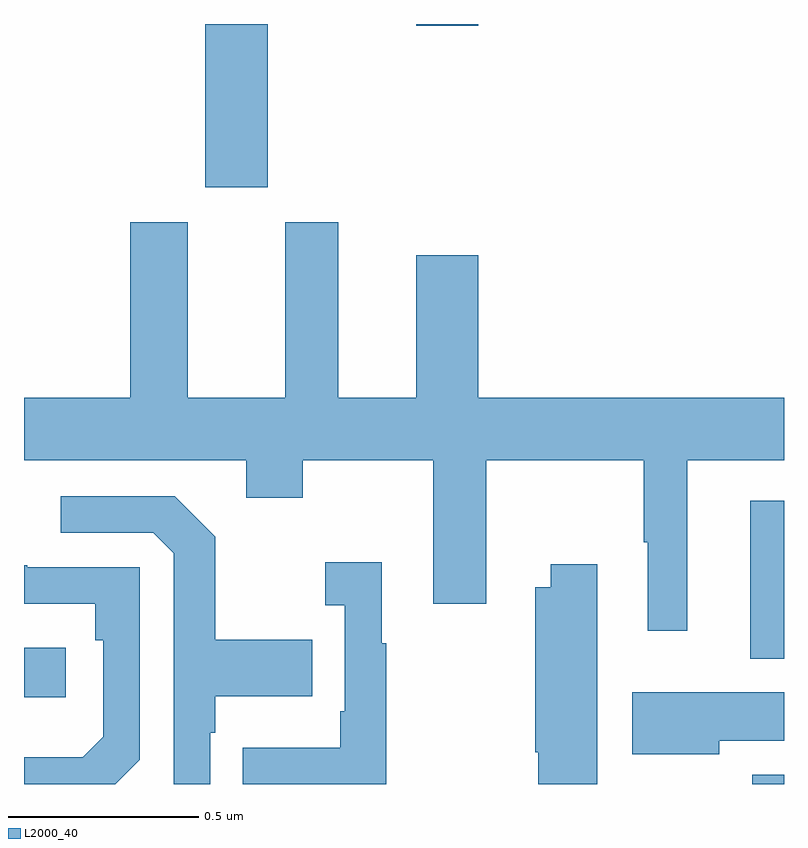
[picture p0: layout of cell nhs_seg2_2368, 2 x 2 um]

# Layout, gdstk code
import gdstk
lib = gdstk.Library(unit=1e-6, precision=1e-09)
def R(c, l, rs):  # rectangles x0, y0, x1, y1
    for r in rs: c.add(gdstk.rectangle(r[:2], r[2:], *l))
def P(c, l, *ps):  # polygons
    for p in ps: c.add(gdstk.Polygon(p, *l))
L2000_40 = (2000, 40)

nhs_seg2_2368 = lib.new_cell('nhs_seg2_2368')
R(nhs_seg2_2368, L2000_40, [(141.917,630.8,142,630.825), (140,631.028,140.11,631.158), (141.911,631.13,142,631.546), (140.477,632.37,140.641,632.8), (141.032,632.796,141.196,632.8)])
P(nhs_seg2_2368, L2000_40, [(141.745,631.652),(142,631.652),(142,631.816),(141.196,631.816),(141.196,632.191),(141.032,632.191),(141.032,631.816),(140.827,631.816),(140.827,632.278),(140.687,632.278),(140.687,631.816),(140.431,631.816),(140.431,632.278),(140.279,632.278),(140.279,631.816),(140,631.816),(140,631.652),(140.585,631.652),(140.585,631.553),(140.733,631.553),(140.733,631.652),(141.077,631.652),(141.077,631.275),(141.217,631.275),(141.217,631.652),(141.631,631.652),(141.631,631.436),(141.641,631.436),(141.641,631.203),(141.745,631.203)],
  [(140.49,630.935),(140.503,630.935),(140.503,631.031),(140.759,631.031),(140.759,631.179),(140.503,631.179),(140.503,631.451),(140.397,631.557),(140.097,631.557),(140.097,631.461),(140.34,631.461),(140.394,631.407),(140.394,630.8),(140.49,630.8)],
  [(140.953,631.171),(140.941,631.171),(140.941,631.384),(140.793,631.384),(140.793,631.271),(140.844,631.271),(140.844,630.991),(140.832,630.991),(140.832,630.895),(140.575,630.895),(140.575,630.8),(140.953,630.8)],
  [(141.508,631.378),(141.386,631.378),(141.386,631.318),(141.346,631.318),(141.346,630.883),(141.353,630.883),(141.353,630.8),(141.508,630.8)],
  [(140.304,630.864),(140.304,631.371),(140.009,631.371),(140.009,631.376),(140,631.376),(140,631.275),(140.188,631.275),(140.188,631.178),(140.208,631.178),(140.208,630.924),(140.155,630.871),(140,630.871),(140,630.8),(140.24,630.8)],
  [(141.829,630.914),(142,630.914),(142,631.042),(141.6,631.042),(141.6,630.878),(141.829,630.878)])

lib.write_gds('nhs_seg2_2368.gds')
